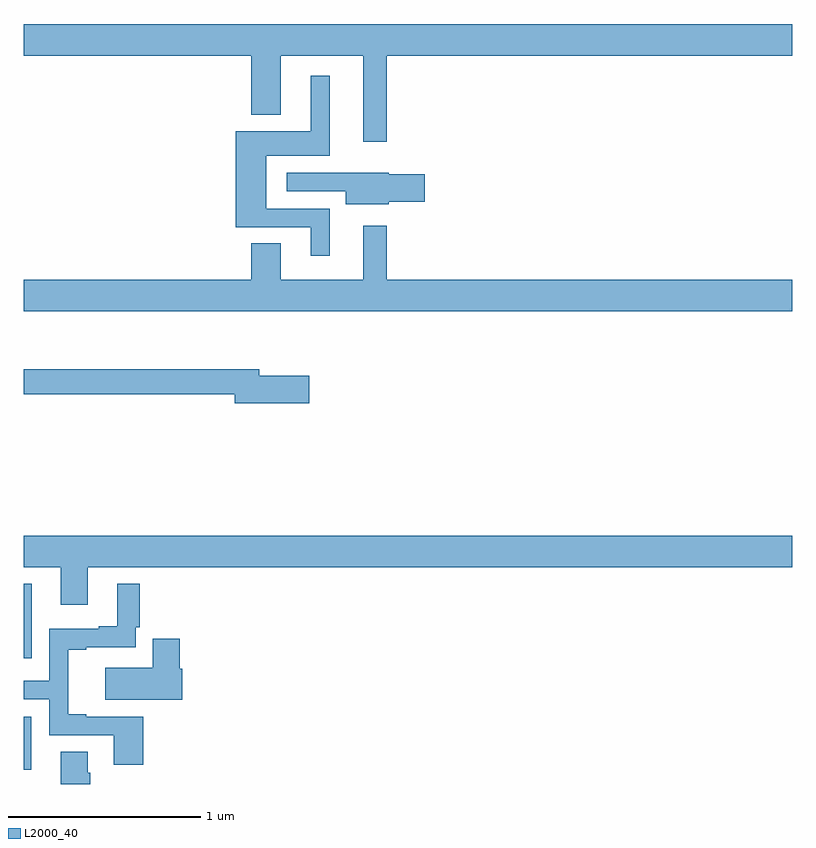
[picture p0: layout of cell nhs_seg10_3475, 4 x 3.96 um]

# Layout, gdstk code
import gdstk
lib = gdstk.Library(unit=1e-6, precision=1e-09)
def R(c, l, rs):  # rectangles x0, y0, x1, y1
    for r in rs: c.add(gdstk.rectangle(r[:2], r[2:], *l))
def P(c, l, *ps):  # polygons
    for p in ps: c.add(gdstk.Polygon(p, *l))
L2000_40 = (2000, 40)

nhs_seg10_3475 = lib.new_cell('nhs_seg10_3475')
R(nhs_seg10_3475, L2000_40, [(299,1320.573,299.038,1320.849), (299,1321.155,299.041,1321.543)])
P(nhs_seg10_3475, L2000_40, [(300.889,1324.292),(303,1324.292),(303,1324.456),(299,1324.456),(299,1324.292),(300.185,1324.292),(300.185,1323.983),(300.337,1323.983),(300.337,1324.292),(300.767,1324.292),(300.767,1323.843),(300.889,1323.843)],
  [(300.592,1323.495),(300.262,1323.495),(300.262,1323.77),(300.592,1323.77),(300.592,1324.186),(300.494,1324.186),(300.494,1323.898),(300.104,1323.898),(300.104,1323.399),(300.494,1323.399),(300.494,1323.249),(300.592,1323.249)],
  [(300.9,1323.532),(301.087,1323.532),(301.087,1323.674),(300.9,1323.674),(300.9,1323.682),(300.681,1323.682),(300.681,1323.681),(300.369,1323.681),(300.369,1323.585),(300.677,1323.585),(300.677,1323.518),(300.9,1323.518)],
  [(303,1323.124),(300.889,1323.124),(300.889,1323.406),(300.767,1323.406),(300.767,1323.124),(300.337,1323.124),(300.337,1323.314),(300.185,1323.314),(300.185,1323.124),(299,1323.124),(299,1322.96),(303,1322.96)],
  [(300.487,1322.625),(300.226,1322.625),(300.226,1322.659),(299,1322.659),(299,1322.53),(300.098,1322.53),(300.098,1322.483),(300.487,1322.483)],
  [(299.332,1321.628),(303,1321.628),(303,1321.792),(299,1321.792),(299,1321.628),(299.192,1321.628),(299.192,1321.434),(299.332,1321.434)],
  [(299.621,1320.849),(299.326,1320.849),(299.326,1320.862),(299.231,1320.862),(299.231,1321.2),(299.326,1321.2),(299.326,1321.212),(299.583,1321.212),(299.583,1321.315),(299.603,1321.315),(299.603,1321.543),(299.486,1321.543),(299.486,1321.321),(299.39,1321.321),(299.39,1321.308),(299.133,1321.308),(299.133,1321.038),(299,1321.038),(299,1320.942),(299.133,1320.942),(299.133,1320.753),(299.468,1320.753),(299.468,1320.6),(299.621,1320.6)],
  [(299.825,1321.101),(299.813,1321.101),(299.813,1321.255),(299.672,1321.255),(299.672,1321.105),(299.424,1321.105),(299.424,1320.938),(299.825,1320.938)],
  [(299.345,1320.558),(299.332,1320.558),(299.332,1320.668),(299.192,1320.668),(299.192,1320.5),(299.345,1320.5)])

lib.write_gds('nhs_seg10_3475.gds')
